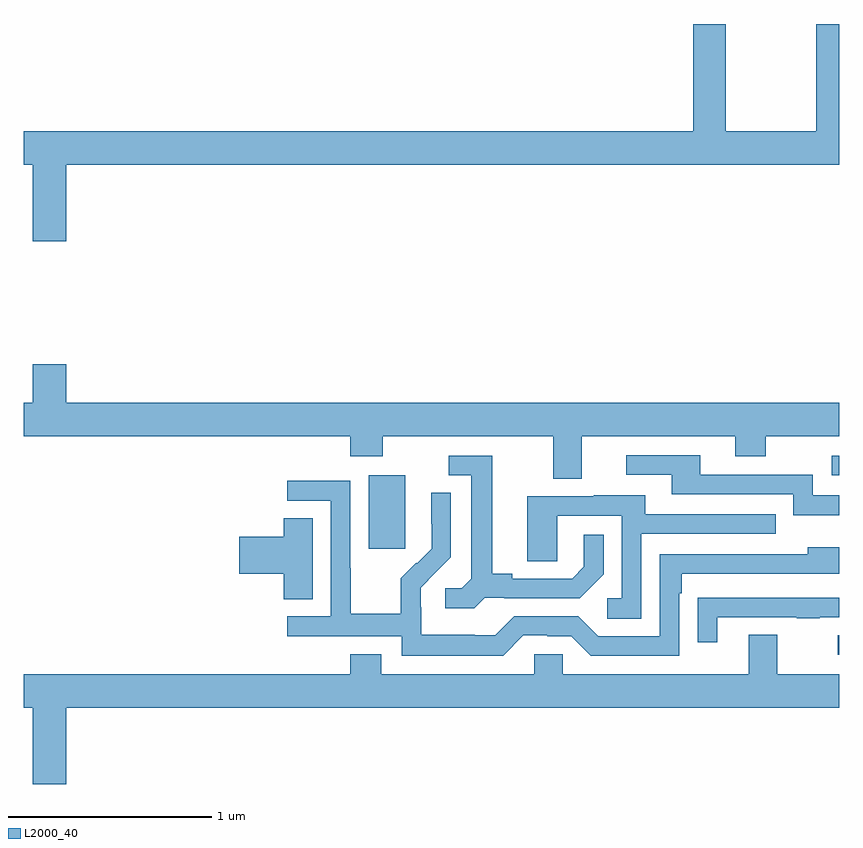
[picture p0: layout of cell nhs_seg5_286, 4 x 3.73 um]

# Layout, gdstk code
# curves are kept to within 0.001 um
import gdstk
lib = gdstk.Library(unit=1e-6, precision=1e-09)
def R(c, l, rs):  # rectangles x0, y0, x1, y1
    for r in rs: c.add(gdstk.rectangle(r[:2], r[2:], *l))
def P(c, l, *ps):  # polygons
    for p in ps: c.add(gdstk.Polygon(p, *l))
L2000_40 = (2000, 40)

nhs_seg5_286 = lib.new_cell('nhs_seg5_286')
R(nhs_seg5_286, L2000_40, [(132.993,839.703,133,839.799), (130.691,840.225,130.87,840.586), (132.963,840.585,133,840.681)])
P(nhs_seg5_286, L2000_40, [(129.208,842.108),(133,842.108),(133,842.799),(132.889,842.799),(132.889,842.272),(132.444,842.272),(132.444,842.799),(132.284,842.799),(132.284,842.272),(129,842.272),(129,842.108),(129.044,842.108),(129.044,841.734),(129.208,841.734)],
  [(131.737,840.776),(132.491,840.776),(132.491,840.677),(132.639,840.677),(132.639,840.776),(133,840.776),(133,840.94),(129.208,840.94),(129.208,841.129),(129.044,841.129),(129.044,840.94),(129,840.94),(129,840.776),(130.601,840.776),(130.601,840.677),(130.761,840.677),(130.761,840.776),(131.597,840.776),(131.597,840.568),(131.737,840.568)],
  [(133,840.486),(132.87,840.486),(132.87,840.588),(132.319,840.588),(132.319,840.684),(131.955,840.684),(131.955,840.588),(132.179,840.588),(132.179,840.492),(132.774,840.492),(132.774,840.389),(133,840.389)],
  [(131.262,839.985),(131.356,839.985),(131.356,839.982),(131.728,839.982),(131.844,840.098),(131.844,840.292),(131.747,840.292),(131.747,840.135),(131.69,840.078),(131.395,840.078),(131.395,840.101),(131.299,840.101),(131.299,840.681),(131.085,840.681),(131.085,840.585),(131.195,840.585),(131.195,840.077),(131.148,840.03),(131.067,840.03),(131.067,839.933),(131.21,839.933)],
  [(131.451,839.799),(131.567,839.799),(131.567,839.796),(131.685,839.796),(131.781,839.7),(132.216,839.7),(132.216,840.005),(132.229,840.005),(132.229,840.102),(133,840.102),(133,840.232),(132.845,840.232),(132.845,840.198),(132.12,840.198),(132.12,839.796),(131.817,839.796),(131.721,839.892),(131.406,839.892),(131.313,839.799),(131.213,839.799),(131.213,839.803),(130.95,839.803),(130.95,839.937),(130.948,839.937),(130.948,840.034),(131.094,840.182),(131.094,840.5),(130.998,840.5),(130.998,840.346),(131,840.346),(131,840.224),(130.929,840.153),(130.926,840.156),(130.849,840.079),(130.849,839.905),(130.605,839.905),(130.605,840.128),(130.602,840.128),(130.602,840.558),(130.293,840.558),(130.293,840.459),(130.506,840.459),(130.506,839.892),(130.293,839.892),(130.293,839.796),(130.854,839.796),(130.854,839.699),(131.351,839.699)],
  [(132.03,840.297),(132.689,840.297),(132.689,840.393),(132.049,840.393),(132.049,840.487),(131.795,840.487),(131.795,840.483),(131.471,840.483),(131.471,840.163),(131.616,840.163),(131.616,840.387),(131.934,840.387),(131.934,839.982),(131.862,839.982),(131.862,839.881),(132.03,839.881)],
  [(130.417,840.374),(130.274,840.374),(130.274,840.284),(130.056,840.284),(130.056,840.101),(130.274,840.101),(130.274,839.977),(130.417,839.977)],
  [(132.403,839.889),(132.793,839.889),(132.793,839.884),(132.905,839.884),(132.905,839.889),(133,839.889),(133,839.985),(132.409,839.985),(132.409,839.984),(132.307,839.984),(132.307,839.766),(132.403,839.766)],
  [(129.208,839.444),(133,839.444),(133,839.608),(132.697,839.608),(132.697,839.803),(132.557,839.803),(132.557,839.608),(131.643,839.608),(131.643,839.706),(131.505,839.706),(131.505,839.608),(130.753,839.608),(130.753,839.707),(130.601,839.707),(130.601,839.608),(129,839.608),(129,839.444),(129.044,839.444),(129.044,839.07),(129.208,839.07)])

lib.write_gds('nhs_seg5_286.gds')
